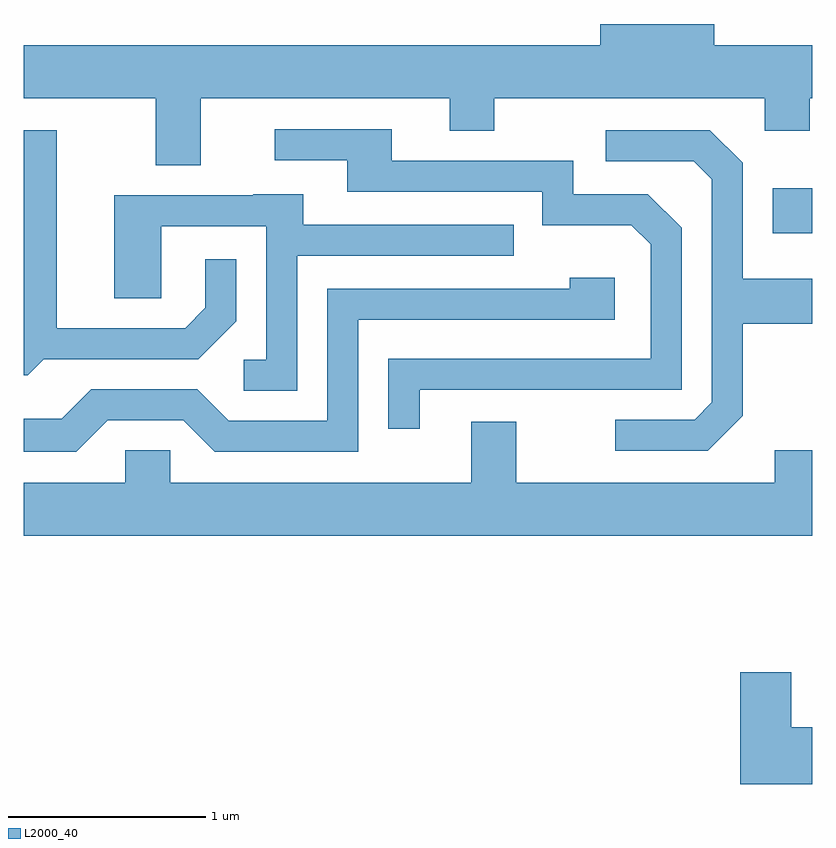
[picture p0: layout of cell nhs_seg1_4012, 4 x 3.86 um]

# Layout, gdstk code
import gdstk
lib = gdstk.Library(unit=1e-6, precision=1e-09)
def R(c, l, rs):  # rectangles x0, y0, x1, y1
    for r in rs: c.add(gdstk.rectangle(r[:2], r[2:], *l))
def P(c, l, *ps):  # polygons
    for p in ps: c.add(gdstk.Polygon(p, *l))
L2000_40 = (2000, 40)

nhs_seg1_4012 = lib.new_cell('nhs_seg1_4012')
R(nhs_seg1_4012, L2000_40, [(309.411,916.651,309.611,916.879)])
P(nhs_seg1_4012, L2000_40, [(306.509,917.336),(307.771,917.336),(307.771,917.171),(307.999,917.171),(307.999,917.336),(309.371,917.336),(309.371,917.171),(309.599,917.171),(309.599,917.336),(309.611,917.336),(309.611,917.604),(309.114,917.604),(309.114,917.712),(308.536,917.712),(308.536,917.604),(305.611,917.604),(305.611,917.336),(306.281,917.336),(306.281,916.996),(306.509,916.996)],
  [(307.619,915.856),(308.949,915.856),(308.949,916.677),(308.777,916.849),(308.399,916.849),(308.399,917.019),(307.479,917.019),(307.479,917.179),(306.883,917.179),(306.883,917.021),(307.251,917.021),(307.251,916.861),(308.241,916.861),(308.241,916.691),(308.694,916.691),(308.791,916.594),(308.791,916.014),(307.461,916.014),(307.461,915.658),(307.619,915.658)],
  [(305.712,916.011),(306.497,916.011),(306.689,916.204),(306.689,916.518),(306.531,916.518),(306.531,916.272),(306.429,916.169),(305.779,916.169),(305.779,917.174),(305.611,917.174),(305.611,915.931),(305.632,915.931)],
  [(309.259,915.724),(309.259,916.191),(309.611,916.191),(309.611,916.419),(309.259,916.419),(309.259,917.007),(309.092,917.174),(308.563,917.174),(308.563,917.016),(309.009,917.016),(309.101,916.924),(309.101,915.792),(309.014,915.704),(308.613,915.704),(308.613,915.546),(309.082,915.546)],
  [(306.999,916.536),(308.098,916.536),(308.098,916.694),(307.029,916.694),(307.029,916.849),(306.775,916.849),(306.775,916.844),(306.071,916.844),(306.071,916.321),(306.309,916.321),(306.309,916.686),(306.841,916.686),(306.841,916.009),(306.728,916.009),(306.728,915.851),(306.999,915.851)],
  [(306.037,915.701),(306.419,915.701),(306.579,915.541),(307.309,915.541),(307.309,916.211),(308.609,916.211),(308.609,916.424),(308.381,916.424),(308.381,916.369),(307.151,916.369),(307.151,915.699),(306.652,915.699),(306.492,915.859),(305.954,915.859),(305.804,915.709),(305.611,915.709),(305.611,915.541),(305.877,915.541)],
  [(309.611,915.549),(309.421,915.549),(309.421,915.384),(308.109,915.384),(308.109,915.694),(307.881,915.694),(307.881,915.384),(306.354,915.384),(306.354,915.549),(306.126,915.549),(306.126,915.384),(305.611,915.384),(305.611,915.116),(309.611,915.116)],
  [(309.611,914.144),(309.504,914.144),(309.504,914.424),(309.246,914.424),(309.246,913.856),(309.611,913.856)])

lib.write_gds('nhs_seg1_4012.gds')
